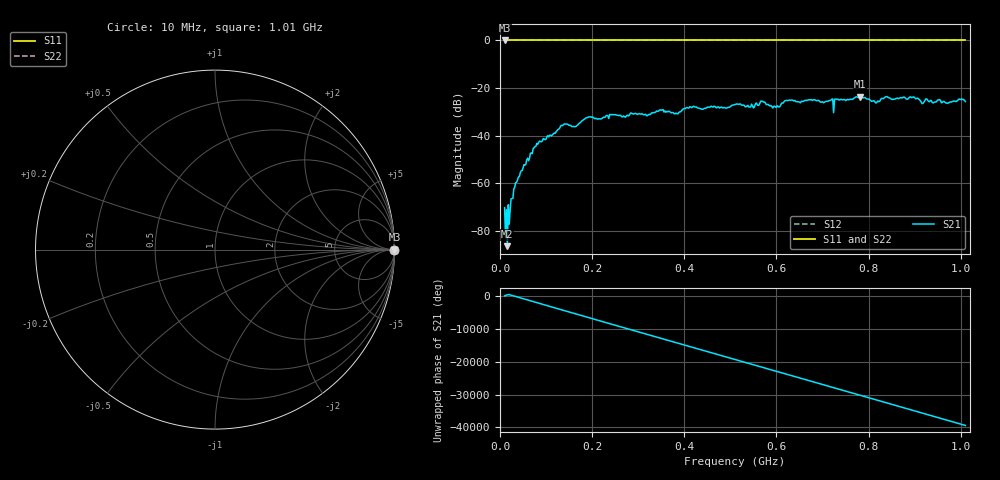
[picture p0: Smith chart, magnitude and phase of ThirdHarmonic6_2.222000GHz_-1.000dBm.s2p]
! 8/17/2025 2:27:56 AM
! C:\ANRITSUVNA\TEMP\TEMP.S2P
! CHANNEL.1
! TR.MEASUREMENT
! RAW.DATA
! RF.CORRECTION.OFF
! AVERAGING.OFF
! IF.BANDWIDTH: 5KHZ
! SWEEPTYPE:  FREQ.SWEEP(Linear)
! Reference Plane Port Info
! PORT:  PORT1  PORT2
! DISTANCE:  0  m  0  m
! TIME:  0  s  0  s
! PHASE.OFFSET:  0  deg.  0  deg.
! LOSS:  0  dB  0  dB
! REF.LOSS:  0  dB  0  dB
! REF.FREQ:  0  Hz  0  Hz
! Power Info
! POWER:  -20  dBm  -20  dBm
! EFF.POWER:  -20  dBm  -20  dBm
! SOURCE.ATTEN:  0  dB  0  dB
! TEST.ATTEN:  0  dB  0  dB
# GHZ S RI R 50.0
! FREQ.GHZ  S11RE  S11IM  S21RE  S21IM  S12RE  S12IM  S22RE  S22IM
!; PortSelection: Port_12
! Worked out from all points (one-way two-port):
!   501 points, 10 MHz to 1.01 GHz, reference 50 ohm
!   highest |S21| = -23.61 dB at 782 MHz (marker M1); lowest = -86.6 dB at 16 MHz (marker M2)
!   lowest |S11| = 0.0 dB at 10 MHz (marker M3)
!   |S11| at or under -10 dB: nowhere
!   |S22| runs from 0.0 to 0.0 dB; largest |S21 - S12| = 1.1
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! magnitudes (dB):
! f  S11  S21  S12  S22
! 10 MHz  0.0  -70.4  0.0  0.0
! 16 MHz  0.0  -86.6  0.0  0.0
! 34 MHz  0.0  -59.8  0.0  0.0
! 76 MHz  0.0  -44.7  0.0  0.0
! 136 MHz  0.0  -35.8  0.0  0.0
! 162 MHz  0.0  -36.3  0.0  0.0
! 178 MHz  0.0  -33.8  0.0  0.0
! 344 MHz  0.0  -29.7  0.0  0.0
! 382 MHz  0.0  -30.6  0.0  0.0
! 416 MHz  0.0  -28.3  0.0  0.0
! 510 MHz  0.0  -27.0  0.0  0.0
! 548 MHz  0.0  -27.5  0.0  0.0
! 570 MHz  0.0  -25.7  0.0  0.0
! 596 MHz  0.0  -27.7  0.0  0.0
! 622 MHz  0.0  -25.2  0.0  0.0
! 678 MHz  0.0  -25.3  0.0  0.0
! 720 MHz  0.0  -24.7  0.0  0.0
! 782 MHz  0.0  -23.6  0.0  0.0
! 818 MHz  0.0  -26.0  0.0  0.0
! 844 MHz  0.0  -24.1  0.0  0.0
! 916 MHz  0.0  -26.6  0.0  0.0
! 1.01 GHz  0.0  -25.7  0.0  0.0
